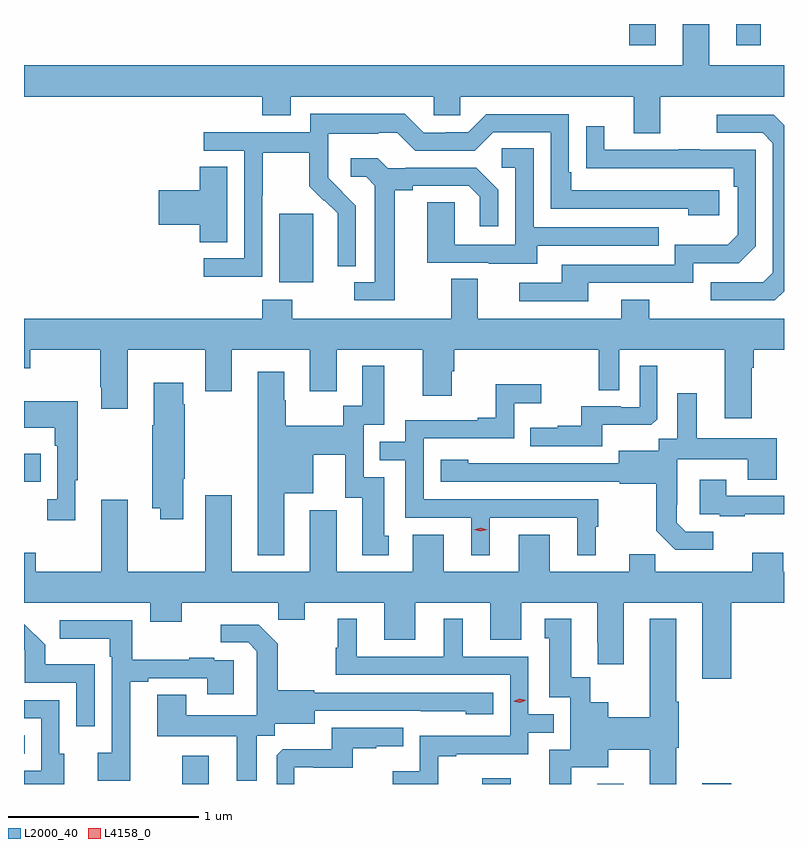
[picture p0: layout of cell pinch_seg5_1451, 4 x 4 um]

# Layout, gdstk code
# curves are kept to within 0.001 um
import gdstk
lib = gdstk.Library(unit=1e-6, precision=1e-09)
def R(c, l, rs):  # rectangles x0, y0, x1, y1
    for r in rs: c.add(gdstk.rectangle(r[:2], r[2:], *l))
def P(c, l, *ps):  # polygons
    for p in ps: c.add(gdstk.Polygon(p, *l))
L2000_40 = (2000, 40)
L4158_0 = (4158, 0)

pinch_seg5_1451 = lib.new_cell('pinch_seg5_1451')
R(pinch_seg5_1451, L2000_40, [(203.885,846.482,204.025,846.631), (205.463,846.482,205.615,846.511), (206.069,846.482,206.209,846.484), (206.621,846.482,206.774,846.487), (203.052,846.642,203.057,846.738), (203.052,848.074,203.141,848.221), (204.395,849.122,204.574,849.483), (206.237,850.371,206.377,850.482), (206.801,850.371,206.929,850.482)])
P(pinch_seg5_1451, L2000_40, [(206.401,850.1),(207.052,850.1),(207.052,850.264),(206.659,850.264),(206.659,850.482),(206.519,850.482),(206.519,850.264),(203.052,850.264),(203.052,850.1),(204.305,850.1),(204.305,850.001),(204.457,850.001),(204.457,850.1),(205.209,850.1),(205.209,850.002),(205.347,850.002),(205.347,850.1),(206.261,850.1),(206.261,849.906),(206.401,849.906)],
  [(204.306,849.58),(204.309,849.58),(204.309,849.804),(204.553,849.804),(204.553,849.629),(204.63,849.552),(204.633,849.555),(204.704,849.485),(204.704,849.362),(204.702,849.362),(204.702,849.208),(204.798,849.208),(204.798,849.526),(204.652,849.674),(204.652,849.771),(204.654,849.771),(204.654,849.905),(204.917,849.905),(204.917,849.909),(205.017,849.909),(205.11,849.816),(205.425,849.816),(205.521,849.912),(205.824,849.912),(205.824,849.51),(206.549,849.51),(206.549,849.476),(206.71,849.476),(206.71,849.606),(205.933,849.606),(205.933,849.703),(205.92,849.703),(205.92,850.008),(205.485,850.008),(205.389,849.912),(205.271,849.912),(205.271,849.909),(205.155,849.909),(205.055,850.009),(204.558,850.009),(204.558,849.912),(203.997,849.912),(203.997,849.816),(204.21,849.816),(204.21,849.249),(203.997,849.249),(203.997,849.151),(204.306,849.151)],
  [(207.052,849.076),(207.052,849.95),(206.997,850.005),(206.697,850.005),(206.697,849.909),(206.94,849.909),(206.994,849.855),(206.994,849.174),(206.943,849.123),(206.667,849.123),(206.667,849.027),(207.003,849.027)],
  [(206.023,849.12),(206.574,849.12),(206.574,849.222),(206.814,849.222),(206.904,849.312),(206.904,849.819),(206.609,849.819),(206.609,849.824),(206.497,849.824),(206.497,849.819),(206.107,849.819),(206.107,849.943),(206.011,849.943),(206.011,849.724),(206.788,849.723),(206.788,849.626),(206.808,849.626),(206.808,849.372),(206.755,849.319),(206.478,849.319),(206.478,849.216),(205.883,849.216),(205.883,849.12),(205.659,849.12),(205.659,849.024),(206.023,849.024)],
  [(205.753,849.315),(206.393,849.315),(206.393,849.411),(205.734,849.411),(205.734,849.827),(205.566,849.827),(205.566,849.726),(205.638,849.726),(205.638,849.321),(205.32,849.321),(205.32,849.545),(205.175,849.545),(205.175,849.225),(205.499,849.225),(205.499,849.221),(205.753,849.221)],
  [(205.003,849.608),(205.099,849.608),(205.099,849.63),(205.394,849.63),(205.451,849.573),(205.451,849.417),(205.548,849.417),(205.548,849.61),(205.432,849.726),(205.06,849.726),(205.06,849.723),(204.966,849.723),(204.914,849.775),(204.771,849.775),(204.771,849.678),(204.852,849.678),(204.899,849.631),(204.899,849.123),(204.789,849.123),(204.789,849.027),(205.003,849.027)],
  [(204.121,849.731),(203.978,849.731),(203.978,849.608),(203.76,849.608),(203.76,849.425),(203.978,849.425),(203.978,849.334),(204.121,849.334)],
  [(206.881,848.672),(206.894,848.672),(206.894,848.768),(207.052,848.768),(207.052,848.932),(206.343,848.932),(206.343,849.031),(206.195,849.031),(206.195,848.932),(205.441,848.932),(205.441,849.14),(205.301,849.14),(205.301,848.932),(204.465,848.932),(204.465,849.031),(204.305,849.031),(204.305,848.932),(203.052,848.932),(203.052,848.669),(203.085,848.669),(203.085,848.768),(203.452,848.768),(203.452,848.569),(203.459,848.569),(203.459,848.457),(203.599,848.457),(203.599,848.768),(204.005,848.768),(204.005,848.55),(204.145,848.55),(204.145,848.768),(204.557,848.768),(204.557,848.55),(204.697,848.55),(204.697,848.768),(205.151,848.768),(205.151,848.526),(205.303,848.526),(205.303,848.655),(205.316,848.655),(205.316,848.768),(206.076,848.768),(206.076,848.554),(206.184,848.554),(206.184,848.768),(206.741,848.768),(206.741,848.406),(206.881,848.406)],
  [(206.095,848.372),(206.353,848.372),(206.385,848.403),(206.385,848.683),(206.292,848.683),(206.292,848.466),(206.192,848.466),(206.192,848.469),(205.985,848.469),(205.985,848.368),(205.861,848.368),(205.861,848.356),(205.717,848.356),(205.717,848.259),(206.095,848.259)],
  [(204.421,848.012),(204.574,848.012),(204.574,848.216),(204.744,848.216),(204.744,847.989),(204.833,847.989),(204.833,847.686),(204.973,847.686),(204.973,847.788),(204.949,847.788),(204.949,848.097),(204.84,848.097),(204.84,848.373),(204.949,848.373),(204.949,848.683),(204.833,848.683),(204.833,848.474),(204.732,848.474),(204.732,848.368),(204.429,848.368),(204.429,848.502),(204.421,848.502),(204.421,848.653),(204.281,848.653),(204.281,847.685),(204.421,847.685)],
  [(203.89,848.089),(203.898,848.089),(203.898,848.48),(203.89,848.48),(203.89,848.593),(203.735,848.593),(203.735,848.369),(203.728,848.369),(203.728,847.934),(203.768,847.934),(203.768,847.875),(203.89,847.875)],
  [(205.504,847.884),(205.964,847.884),(205.964,847.685),(206.062,847.685),(206.062,847.836),(206.074,847.836),(206.074,847.98),(205.155,847.98),(205.155,848.301),(205.632,848.301),(205.632,848.486),(205.774,848.486),(205.774,848.585),(205.534,848.585),(205.534,848.41),(205.439,848.41),(205.439,848.397),(205.059,848.397),(205.059,848.283),(204.925,848.283),(204.925,848.187),(205.059,848.187),(205.059,847.884),(205.406,847.884),(205.406,847.685),(205.504,847.685)],
  [(206.68,847.809),(206.535,847.809),(206.488,847.856),(206.488,847.951),(206.49,847.951),(206.49,848.192),(206.861,848.192),(206.861,848.083),(207.013,848.083),(207.013,848.302),(206.593,848.302),(206.593,848.539),(206.489,848.539),(206.489,848.3),(206.394,848.3),(206.394,848.236),(206.183,848.236),(206.183,848.169),(205.389,848.17),(205.389,848.188),(205.245,848.188),(205.245,848.073),(206.187,848.073),(206.187,848.061),(206.379,848.061),(206.379,847.815),(206.479,847.715),(206.68,847.715)],
  [(203.323,848.081),(203.335,848.081),(203.335,848.497),(203.052,848.497),(203.052,848.357),(203.214,848.357),(203.214,848.261),(203.226,848.261),(203.226,847.982),(203.175,847.982),(203.175,847.869),(203.323,847.869)],
  [(206.845,847.901),(207.052,847.901),(207.052,847.998),(206.749,847.998),(206.749,848.083),(206.609,848.083),(206.609,847.902),(206.713,847.902),(206.713,847.89),(206.845,847.89)],
  [(206.774,847.436),(207.052,847.436),(207.052,847.6),(207.049,847.6),(207.049,847.699),(206.885,847.699),(206.885,847.6),(206.375,847.6),(206.375,847.691),(206.237,847.691),(206.237,847.6),(205.819,847.6),(205.819,847.795),(205.655,847.795),(205.655,847.6),(205.261,847.6),(205.261,847.795),(205.097,847.795),(205.097,847.6),(204.697,847.6),(204.697,847.924),(204.557,847.924),(204.557,847.6),(204.145,847.6),(204.145,848.002),(204.005,848.002),(204.005,847.6),(203.599,847.6),(203.599,847.978),(203.459,847.978),(203.459,847.6),(203.115,847.6),(203.115,847.699),(203.052,847.699),(203.052,847.436),(203.717,847.436),(203.717,847.337),(203.881,847.337),(203.881,847.436),(204.391,847.436),(204.391,847.346),(204.529,847.346),(204.529,847.436),(204.947,847.436),(204.947,847.242),(205.111,847.242),(205.111,847.436),(205.505,847.436),(205.505,847.242),(205.669,847.242),(205.669,847.436),(206.069,847.436),(206.069,847.225),(206.072,847.225),(206.072,847.113),(206.209,847.113),(206.209,847.436),(206.621,847.436),(206.621,847.035),(206.774,847.035)],
  [(205.933,846.569),(206.128,846.569),(206.128,846.661),(206.345,846.661),(206.345,846.482),(206.485,846.482),(206.485,846.672),(206.498,846.672),(206.498,846.916),(206.485,846.916),(206.485,847.351),(206.345,847.351),(206.345,846.833),(206.128,846.833),(206.128,846.913),(206.031,846.913),(206.031,847.043),(205.933,847.043),(205.933,847.351),(205.793,847.351),(205.793,847.248),(205.817,847.248),(205.817,846.939),(205.926,846.939),(205.926,846.663),(205.817,846.663),(205.817,846.482),(205.933,846.482)],
  [(205.233,846.627),(205.327,846.627),(205.327,846.639),(205.707,846.639),(205.707,846.753),(205.84,846.753),(205.84,846.849),(205.707,846.849),(205.707,847.152),(205.36,847.152),(205.36,847.351),(205.262,847.351),(205.262,847.152),(204.802,847.152),(204.802,847.351),(204.704,847.351),(204.704,847.2),(204.693,847.2),(204.693,847.056),(205.611,847.056),(205.611,846.735),(205.134,846.735),(205.134,846.55),(204.993,846.55),(204.993,846.482),(205.233,846.482)],
  [(203.611,847.02),(203.707,847.02),(203.707,847.038),(204.017,847.038),(204.017,846.954),(204.157,846.954),(204.157,847.134),(204.053,847.134),(204.053,847.147),(203.921,847.147),(203.921,847.136),(203.623,847.136),(203.623,847.344),(203.241,847.344),(203.241,847.247),(203.502,847.247),(203.502,847.151),(203.514,847.151),(203.514,846.646),(203.439,846.646),(203.439,846.498),(203.611,846.498)],
  [(203.424,847.111),(203.163,847.111),(203.163,847.214),(203.052,847.324),(203.052,847.188),(203.055,847.185),(203.055,847.014),(203.328,847.014),(203.328,846.786),(203.424,846.786)],
  [(204.277,846.736),(204.372,846.736),(204.372,846.8),(204.583,846.8),(204.583,846.867),(205.377,846.866),(205.377,846.848),(205.522,846.848),(205.522,846.963),(204.579,846.963),(204.579,846.976),(204.387,846.976),(204.387,847.221),(204.287,847.321),(204.087,847.321),(204.087,847.227),(204.231,847.227),(204.278,847.18),(204.278,847.085),(204.276,847.085),(204.276,846.844),(203.905,846.844),(203.905,846.953),(203.753,846.953),(203.753,846.734),(204.173,846.734),(204.173,846.498),(204.277,846.498)],
  [(203.263,846.642),(203.238,846.642),(203.238,846.924),(203.052,846.924),(203.052,846.828),(203.142,846.828),(203.142,846.552),(203.052,846.552),(203.052,846.482),(203.263,846.482)],
  [(204.474,846.57),(204.574,846.57),(204.574,846.567),(204.782,846.567),(204.782,846.669),(204.905,846.669),(204.905,846.68),(205.049,846.68),(205.049,846.777),(204.672,846.777),(204.672,846.665),(204.413,846.665),(204.381,846.633),(204.381,846.482),(204.474,846.482)])
P(pinch_seg5_1451, L4158_0, [(205.455,847.811),(205.419,847.821),(205.419,847.821),(205.419,847.821),(205.455,847.831),(205.491,847.821),(205.491,847.821),(205.491,847.821)],
  [(205.662,846.91),(205.627,846.918),(205.626,846.918),(205.627,846.918),(205.66,846.93),(205.695,846.923),(205.696,846.923),(205.695,846.923)])

lib.write_gds('pinch_seg5_1451.gds')
